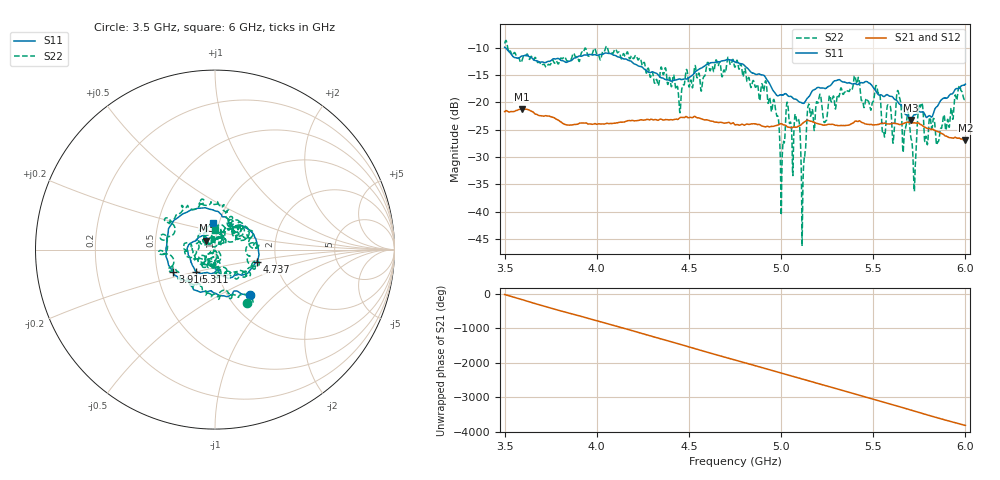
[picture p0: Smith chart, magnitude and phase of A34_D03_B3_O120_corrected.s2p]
! Created with skrf 1.9.0 (http://scikit-rf.org).
# Hz S RI R 50.0
!freq ReS11 ImS11 ReS21 ImS21 ReS12 ImS12 ReS22 ImS22
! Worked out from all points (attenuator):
!   1601 points, 3.5 GHz to 6 GHz, reference 50 ohm
!   highest |S21| = -21.20 dB at 3.592 GHz (marker M1); lowest = -26.9 dB at 6 GHz (marker M2)
!   lowest |S11| = -23.2 dB at 5.703 GHz (marker M3), VSWR 1.15, Z = 45.2 + j4.54 ohm
!   |S11| at or under -10 dB: 3.505 GHz to end of sweep
!   |S22| runs from -46.3 to -8.7 dB; largest |S21 - S12| = 0.00099
!   S11 on the Smith chart (normalised r, x): 3.5 GHz: 1.26, -0.71; 3.916 GHz: 0.60, -0.16; 4.737 GHz: 1.59, -0.23; 5.311 GHz: 0.79, -0.20; 6 GHz: 0.94, +0.28
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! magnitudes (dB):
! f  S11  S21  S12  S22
! 3.5 GHz  -9.9  -21.7  -21.7  -9.2
! 3.592 GHz  -11.5  -21.2  -21.2  -12.5
! 3.916 GHz  -11.5  -23.8  -23.8  -11.1
! 3.917 GHz  -11.5  -23.8  -23.8  -10.9
! 4.334 GHz  -15.0  -23.2  -23.2  -16.9
! 4.737 GHz  -12.3  -23.7  -23.8  -12.1
! 4.75 GHz  -12.6  -24.1  -24.0  -13.5
! 4.967 GHz  -18.3  -24.3  -24.2  -20.6
! 5.005 GHz  -18.6  -23.9  -23.9  -31.8
! 5.034 GHz  -18.7  -24.5  -24.4  -20.0
! 5.088 GHz  -19.6  -24.5  -24.5  -23.3
! 5.119 GHz  -20.1  -23.8  -23.7  -34.6
! 5.145 GHz  -19.1  -23.3  -23.2  -20.8
! 5.167 GHz  -18.0  -23.5  -23.4  -21.3
! 5.311 GHz  -15.8  -24.2  -24.2  -18.9
! 5.558 GHz  -18.9  -23.8  -23.8  -25.5
! 5.584 GHz  -18.8  -23.9  -23.9  -20.5
! 5.703 GHz  -23.2  -23.7  -23.7  -26.2
! 5.722 GHz  -22.3  -23.7  -23.7  -36.1
! 5.756 GHz  -21.7  -24.0  -23.9  -20.8
! 5.85 GHz  -20.6  -25.3  -25.3  -27.2
! 6 GHz  -16.7  -26.9  -26.8  -19.3
